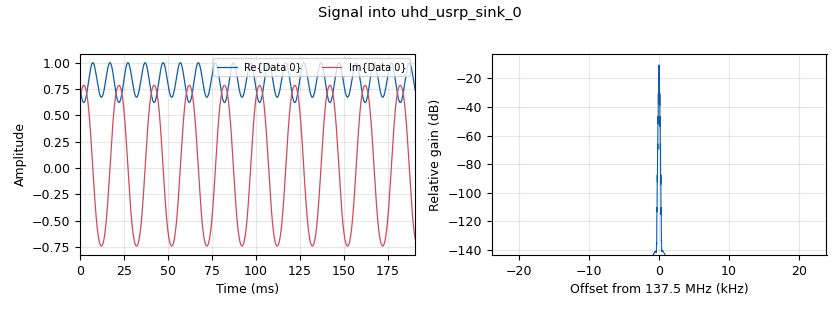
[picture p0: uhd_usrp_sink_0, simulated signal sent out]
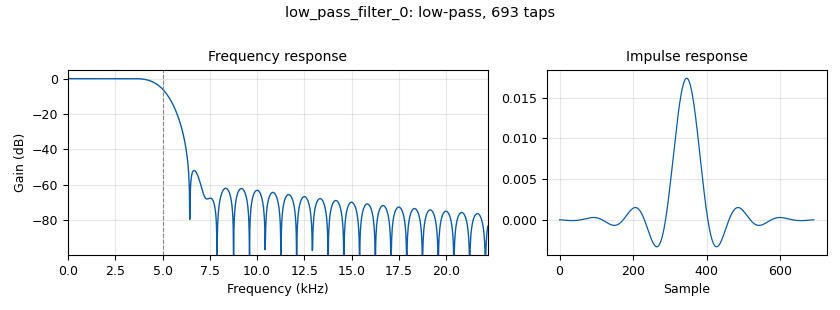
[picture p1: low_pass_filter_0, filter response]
<?xml version='1.0' encoding='utf-8'?>
<?grc format='1' created='3.7.13'?>
<flow_graph>
<block>
<key>options</key>
<param><key>id</key><value>usrp_fm_tx</value></param>
<param><key>author</key><value>curtis</value></param>
<param><key>description</key><value>TX at 137.5 MHz</value></param>
<param><key>generate_options</key><value>qt_gui</value></param>
<param><key>title</key><value>USRP_fm_tx</value></param>
</block>
<block>
<key>variable_qtgui_range</key>
<param><key>id</key><value>rf_gain</value></param>
<param><key>value</key><value>0</value></param>
<param><key>label</key><value>rf_gain</value></param>
<param><key>orient</key><value>Qt.Horizontal</value></param>
<param><key>start</key><value>0</value></param>
<param><key>step</key><value>1</value></param>
<param><key>stop</key><value>50</value></param>
</block>
<block>
<key>variable</key>
<param><key>id</key><value>samp_rate</value></param>
<param><key>value</key><value>48000</value></param>
</block>
<block>
<key>analog_nbfm_tx</key>
<param><key>id</key><value>analog_nbfm_tx_0</value></param>
<param><key>audio_rate</key><value>samp_rate</value></param>
<param><key>max_dev</key><value>5e3</value></param>
<param><key>fh</key><value>-1.0</value></param>
<param><key>quad_rate</key><value>576000</value></param>
<param><key>tau</key><value>75e-6</value></param>
</block>
<block>
<key>analog_sig_source_x</key>
<param><key>id</key><value>analog_sig_source_x_0</value></param>
<param><key>amp</key><value>1</value></param>
<param><key>freq</key><value>600</value></param>
<param><key>offset</key><value>0</value></param>
<param><key>type</key><value>float</value></param>
<param><key>samp_rate</key><value>samp_rate</value></param>
<param><key>waveform</key><value>analog.GR_COS_WAVE</value></param>
</block>
<block>
<key>blocks_multiply_const_vxx</key>
<param><key>id</key><value>blocks_multiply_const_vxx_0</value></param>
<param><key>const</key><value>100e-3</value></param>
<param><key>type</key><value>float</value></param>
</block>
<block>
<key>low_pass_filter</key>
<param><key>id</key><value>low_pass_filter_0</value></param>
<param><key>cutoff_freq</key><value>5000</value></param>
<param><key>decim</key><value>1</value></param>
<param><key>type</key><value>fir_filter_ccf</value></param>
<param><key>gain</key><value>1</value></param>
<param><key>samp_rate</key><value>576000</value></param>
<param><key>width</key><value>2000</value></param>
<param><key>win</key><value>firdes.WIN_HAMMING</value></param>
</block>
<block>
<key>uhd_usrp_sink</key>
<param><key>id</key><value>uhd_usrp_sink_0</value></param>
<param><key>ant0</key><value>TX/RX</value></param>
<param><key>bw0</key><value>34000</value></param>
<param><key>center_freq0</key><value>137.5e6</value></param>
<param><key>norm_gain0</key><value>False</value></param>
<param><key>gain0</key><value>rf_gain</value></param>
<param><key>clock_rate</key><value>0.0</value></param>
<param><key>dev_args</key><value>""</value></param>
<param><key>type</key><value>fc32</value></param>
<param><key>samp_rate</key><value>samp_rate</value></param>
<param><key>hide_cmd_port</key><value>False</value></param>
<param><key>hide_lo_controls</key><value>True</value></param>
<param><key>sync</key><value></value></param>
<param><key>len_tag_name</key><value></value></param>
</block>
<connection><source_block_id>analog_nbfm_tx_0</source_block_id><sink_block_id>low_pass_filter_0</sink_block_id><source_key>0</source_key><sink_key>0</sink_key></connection>
<connection><source_block_id>analog_sig_source_x_0</source_block_id><sink_block_id>blocks_multiply_const_vxx_0</sink_block_id><source_key>0</source_key><sink_key>0</sink_key></connection>
<connection><source_block_id>blocks_multiply_const_vxx_0</source_block_id><sink_block_id>analog_nbfm_tx_0</sink_block_id><source_key>0</source_key><sink_key>0</sink_key></connection>
<connection><source_block_id>low_pass_filter_0</source_block_id><sink_block_id>uhd_usrp_sink_0</sink_block_id><source_key>0</source_key><sink_key>0</sink_key></connection>
</flow_graph>
